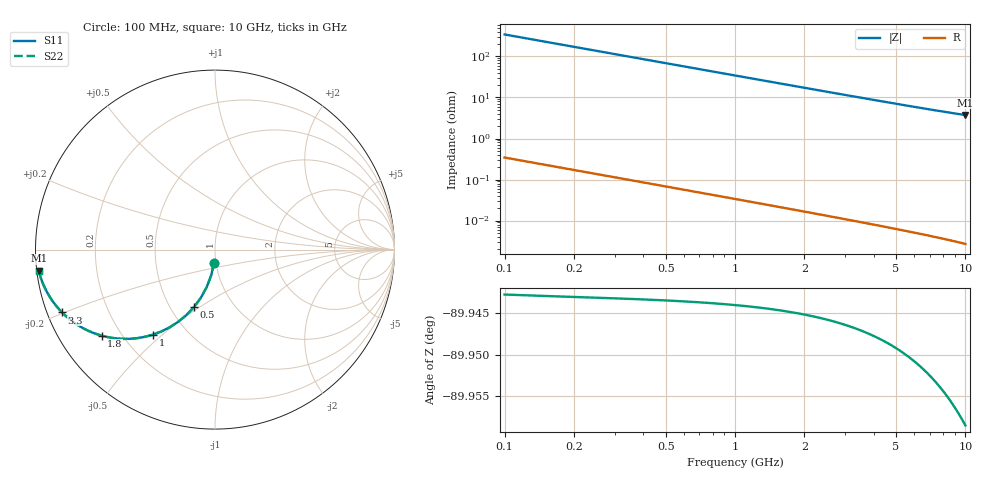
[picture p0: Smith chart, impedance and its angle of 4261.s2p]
# Hz S RI R 50.00
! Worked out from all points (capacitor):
!   100 points, 100 MHz to 10 GHz, reference 50 ohm
!   read as one part in shunt: C = 4.63 pF near 100 MHz
!   lowest |Z| = 3.73 ohm at 10 GHz (marker M1)
!   S11 on the Smith chart (normalised r, x): 100 MHz: 0.98, -0.14; 500 MHz: 0.65, -0.47; 1 GHz: 0.32, -0.47; 1.8 GHz: 0.13, -0.33; 3.3 GHz: 0.04, -0.20; 10 GHz: 0.01, -0.06
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1e8  -0.0053 -0.0722  0.9946 -0.0725  0.9946 -0.0725  -0.0053 -0.0722
2e8  -0.0208 -0.1421  0.9791 -0.1427  0.9791 -0.1427  -0.0208 -0.1421
3e8  -0.0456 -0.2078  0.9543 -0.2086  0.9543 -0.2086  -0.0456 -0.2078
4e8  -0.0782 -0.2675  0.9217 -0.2686  0.9217 -0.2686  -0.0782 -0.2675
5e8  -0.117 -0.3203  0.8829 -0.3216  0.8829 -0.3216  -0.117 -0.3203
6e8  -0.1601 -0.3655  0.8398 -0.3671  0.8398 -0.3671  -0.1601 -0.3655
7e8  -0.206 -0.403  0.7939 -0.4049  0.7939 -0.4049  -0.206 -0.403
8e8  -0.253 -0.4332  0.7469 -0.4353  0.7469 -0.4353  -0.253 -0.4332
1e9  -0.3459 -0.4738  0.654 -0.4765  0.654 -0.4765  -0.3459 -0.4738
1.3e9  -0.4718 -0.4969  0.5282 -0.5005  0.5282 -0.5005  -0.4718 -0.4969
1.5e9  -0.5431 -0.4956  0.4569 -0.4997  0.4569 -0.4997  -0.5431 -0.4956
1.8e9  -0.631 -0.4796  0.3689 -0.4845  0.3689 -0.4845  -0.631 -0.4796
2.1e9  -0.6994 -0.4551  0.3005 -0.4609  0.3005 -0.4609  -0.6994 -0.4551
2.5e9  -0.7672 -0.4186  0.2327 -0.4255  0.2327 -0.4255  -0.7672 -0.4186
2.9e9  -0.816 -0.383  0.1839 -0.3909  0.1839 -0.3909  -0.816 -0.383
3.3e9  -0.8516 -0.3503  0.1482 -0.3594  0.1482 -0.3594  -0.8516 -0.3503
3.4e9  -0.859 -0.3427  0.1409 -0.3521  0.1409 -0.3521  -0.859 -0.3427
4.2e9  -0.9029 -0.2896  0.0969 -0.3013  0.0969 -0.3013  -0.9029 -0.2896
5.1e9  -0.9321 -0.2437  0.0677 -0.2579  0.0677 -0.2579  -0.9321 -0.2437
6.7e9  -0.9597 -0.1863  0.04 -0.2053  0.04 -0.2053  -0.9597 -0.1863
8.4e9  -0.9742 -0.1454  0.0254 -0.1695  0.0254 -0.1695  -0.9742 -0.1454
1e10  -0.9818 -0.1176  0.0177 -0.1467  0.0177 -0.1467  -0.9818 -0.1176
